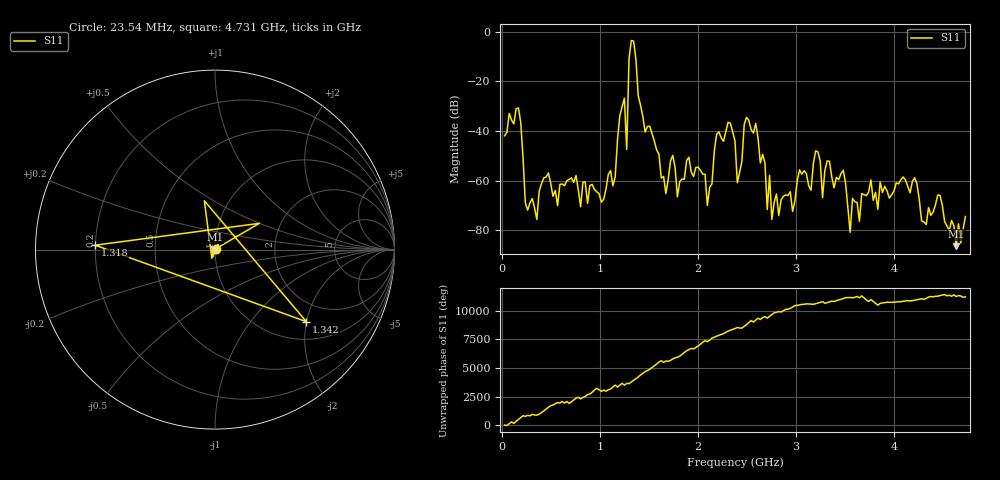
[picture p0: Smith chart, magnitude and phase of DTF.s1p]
!Keysight Technologies N9952A: A.10.01
!Date: Friday, 04 October 2019 12:12:33
!TimeZone: !Model: N9952A
!Serial: MY57201149
!GPS Latitude:
!GPS Longitude:
!GPS TimeStamp: 0001-01-01 00:00:00Z
!GPS Seconds Since Last Read: 0
!CHECKSUM:0371284179
!Correction: S11(Rdy)
!S1P File: Measurement: S11:
# Hz S DB R 50
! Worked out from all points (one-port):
!   201 points, 23.54 MHz to 4.731 GHz, reference 50 ohm
!   lowest |S11| = -86.4 dB at 4.637 GHz (marker M1), VSWR 1.00, Z = 50 + j0.00448 ohm
!   |S11| at or under -10 dB: start of sweep to 1.297 GHz; 1.362 GHz to end of sweep
!   S11 on the Smith chart (normalised r, x): 23.54 MHz: 1.02, +0.00; 1.318 GHz: 0.20, +0.02; 1.342 GHz: 1.44, -2.00; 4.731 GHz: 1.00, +0.00
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2.353839e7  -41.93 9.7
1.647687e8  -30.71 143.0
2.353839e8  -69.00 53.8
3.530759e8  -75.65 159.5
6.355366e8  -62.02 130.8
1.035689e9  -67.53 -175.7
1.153381e9  -58.49 -97.4
1.223996e9  -30.21 58.6
1.271073e9  -47.44 57.4
1.294612e9  -10.85 30.6
1.31815e9  -3.50 177.9
1.341688e9  -3.76 -38.3
1.45938e9  -40.43 1.0
1.812456e9  -60.48 -94.5
2.094917e9  -70.03 90.7
2.306762e9  -36.44 -71.7
2.400916e9  -60.83 -112.2
2.49507e9  -34.51 142.8
2.753992e9  -75.62 -75.5
2.989376e9  -68.29 -3.2
3.201221e9  -48.00 161.8
3.271837e9  -66.88 -17.1
3.318913e9  -52.03 -104.2
3.554297e9  -80.84 -17.8
3.577836e9  -67.17 -42.0
4.142757e9  -62.33 65.2
4.637063e9  -86.41 69.4
4.731217e9  -74.44 35.4
